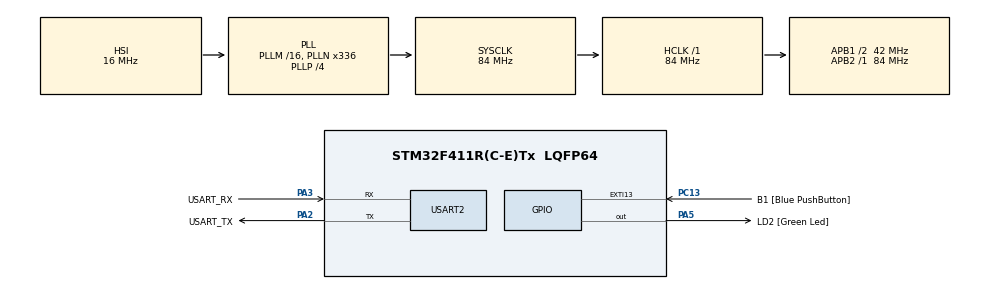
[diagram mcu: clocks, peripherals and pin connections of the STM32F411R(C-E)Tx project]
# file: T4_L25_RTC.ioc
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Mcu.Family=STM32F4
Mcu.Name=STM32F411R(C-E)Tx
Mcu.Package=LQFP64
NVIC.PriorityGroup=NVIC_PRIORITYGROUP_0
PA13.GPIO_Label=TMS
PA13.Mode=Serial_Wire
PA13.Signal=SYS_JTMS-SWDIO
PA14.GPIO_Label=TCK
PA14.Mode=Serial_Wire
PA14.Signal=SYS_JTCK-SWCLK
PA2.GPIO_Label=USART_TX
PA2.Mode=Asynchronous
PA2.Signal=USART2_TX
PA3.GPIO_Label=USART_RX
PA3.Mode=Asynchronous
PA3.Signal=USART2_RX
PA5.GPIO_Label=LD2 [Green Led]
PA5.Signal=GPIO_Output
PB3.GPIO_Label=SWO
PB3.Signal=SYS_JTDO-SWO
PC13-ANTI_TAMP.GPIO_Label=B1 [Blue PushButton]
PC13-ANTI_TAMP.GPIO_ModeDefaultEXTI=GPIO_MODE_IT_FALLING
PC13-ANTI_TAMP.Signal=GPXTI13
PC14-OSC32_IN.Mode=LSE-External-Oscillator
PC14-OSC32_IN.Signal=RCC_OSC32_IN
PC15-OSC32_OUT.Mode=LSE-External-Oscillator
PC15-OSC32_OUT.Signal=RCC_OSC32_OUT
PH0\ -\ OSC_IN.Mode=HSE-External-Clock-Source
PH0\ -\ OSC_IN.Signal=RCC_OSC_IN
PH1\ -\ OSC_OUT.Mode=HSE-External-Clock-Source
PH1\ -\ OSC_OUT.Signal=RCC_OSC_OUT
ProjectManager.HeapSize=0x200
ProjectManager.StackSize=0x400
ProjectManager.TargetToolchain=STM32CubeIDE
RCC.48MHZClocksFreq_Value=84000000
RCC.AHBFreq_Value=84000000
RCC.APB1CLKDivider=RCC_HCLK_DIV2
RCC.APB1Freq_Value=42000000
RCC.APB1TimFreq_Value=84000000
RCC.APB2Freq_Value=84000000
RCC.APB2TimFreq_Value=84000000
RCC.CortexFreq_Value=84000000
RCC.FLatency-AdvancedSettings=FLASH_LATENCY_2
RCC.HCLKFreq_Value=84000000
RCC.HSE_VALUE=8000000
RCC.HSI_VALUE=16000000
RCC.PLLN=336
RCC.PLLP=RCC_PLLP_DIV4
RCC.RCC_RTC_Clock_Source=RCC_RTCCLKSOURCE_LSE
RCC.RCC_RTC_Clock_SourceVirtual=RCC_RTCCLKSOURCE_LSE
RCC.SYSCLKFreq_VALUE=84000000
RCC.SYSCLKSource=RCC_SYSCLKSOURCE_PLLCLK
RCC.VCOOutputFreq_Value=336000000
RTC.Date=9
RTC.Hours=20
RTC.Minutes=30
RTC.Month=RTC_MONTH_APRIL
RTC.Seconds=15
RTC.Year=20
USART2.VirtualMode=VM_ASYNC
VP_RTC_VS_RTC_Activate.Mode=RTC_Enabled
VP_RTC_VS_RTC_Calendar.Mode=RTC_Calendar
board=NUCLEO-F411RE

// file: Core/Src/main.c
/* USER CODE BEGIN Header */
/**
  ******************************************************************************
  * @file           : main.c
  * @brief          : Main program body
  ******************************************************************************
  * @attention
  *
  * <h2><center>&copy; Copyright (c) 2020 STMicroelectronics.
  * All rights reserved.</center></h2>
  *
  * This software component is licensed by ST under BSD 3-Clause license,
  * the "License"; You may not use this file except in compliance with the
  * License. You may obtain a copy of the License at:
  *                        opensource.org/licenses/BSD-3-Clause
  *
  ******************************************************************************
  */
/* USER CODE END Header */
#include "main.h"
#include "rtc.h"
#include "usart.h"
#include "gpio.h"

/* USER CODE BEGIN Includes */
#include "stdio.h"
/* USER CODE END Includes */

/* USER CODE BEGIN PV */
RTC_TimeTypeDef RtcTime;
RTC_DateTypeDef RtcDate;

uint8_t CompareSeconds;
float Milliseconds;

uint8_t Message[64];
uint8_t MessageLen;
/* USER CODE END PV */

void SystemClock_Config(void);

int main(void)
{

  /* MCU Configuration--------------------------------------------------------*/

  /* Reset of all peripherals, Initializes the Flash interface and the Systick. */
  HAL_Init();

  /* Configure the system clock */
  SystemClock_Config();

  /* Initialize all configured peripherals */
  MX_GPIO_Init();
  MX_USART2_UART_Init();
  MX_RTC_Init();

  /* Infinite loop */
  /* USER CODE BEGIN WHILE */
  while (1)
  {
	  HAL_RTC_GetTime(&hrtc, &RtcTime, RTC_FORMAT_BIN);
	  HAL_RTC_GetDate(&hrtc, &RtcDate, RTC_FORMAT_BIN);

	  //
	  // Milliseconds formula is taken from Reference Manual
	  //
	  Milliseconds = ((RtcTime.SecondFraction-RtcTime.SubSeconds) /((float)RtcTime.SecondFraction+1) * 100);

	  if(Milliseconds != CompareSeconds)
	  {
		  MessageLen = sprintf((char*)Message, "Date: %02d.%02d.20%02d Time: %02d:%02d:%02d:%02d\n\r",
				  	  	  	  	  RtcDate.Date, RtcDate.Month, RtcDate.Year, RtcTime.Hours, RtcTime.Minutes, RtcTime.Seconds, (uint8_t)Milliseconds);
		  HAL_UART_Transmit(&huart2, Message, MessageLen, 100);
		  CompareSeconds = Milliseconds;
	  }
    /* USER CODE END WHILE */

  }
}

void SystemClock_Config(void)
{
  RCC_OscInitTypeDef RCC_OscInitStruct = {0};
  RCC_ClkInitTypeDef RCC_ClkInitStruct = {0};
  RCC_PeriphCLKInitTypeDef PeriphClkInitStruct = {0};

  /** Configure the main internal regulator output voltage
  */
  __HAL_RCC_PWR_CLK_ENABLE();
  __HAL_PWR_VOLTAGESCALING_CONFIG(PWR_REGULATOR_VOLTAGE_SCALE1);
  /** Initializes the RCC Oscillators according to the specified parameters
  * in the RCC_OscInitTypeDef structure.
  */
  RCC_OscInitStruct.OscillatorType = RCC_OSCILLATORTYPE_HSI|RCC_OSCILLATORTYPE_LSE;
  RCC_OscInitStruct.LSEState = RCC_LSE_ON;
  RCC_OscInitStruct.HSIState = RCC_HSI_ON;
  RCC_OscInitStruct.HSICalibrationValue = RCC_HSICALIBRATION_DEFAULT;
  RCC_OscInitStruct.PLL.PLLState = RCC_PLL_ON;
  RCC_OscInitStruct.PLL.PLLSource = RCC_PLLSOURCE_HSI;
  RCC_OscInitStruct.PLL.PLLM = 16;
  RCC_OscInitStruct.PLL.PLLN = 336;
  RCC_OscInitStruct.PLL.PLLP = RCC_PLLP_DIV4;
  RCC_OscInitStruct.PLL.PLLQ = 4;
  if (HAL_RCC_OscConfig(&RCC_OscInitStruct) != HAL_OK)
  {
    Error_Handler();
  }
  /** Initializes the CPU, AHB and APB buses clocks
  */
  RCC_ClkInitStruct.ClockType = RCC_CLOCKTYPE_HCLK|RCC_CLOCKTYPE_SYSCLK
                              |RCC_CLOCKTYPE_PCLK1|RCC_CLOCKTYPE_PCLK2;
  RCC_ClkInitStruct.SYSCLKSource = RCC_SYSCLKSOURCE_PLLCLK;
  RCC_ClkInitStruct.AHBCLKDivider = RCC_SYSCLK_DIV1;
  RCC_ClkInitStruct.APB1CLKDivider = RCC_HCLK_DIV2;
  RCC_ClkInitStruct.APB2CLKDivider = RCC_HCLK_DIV1;

  if (HAL_RCC_ClockConfig(&RCC_ClkInitStruct, FLASH_LATENCY_2) != HAL_OK)
  {
    Error_Handler();
  }
  PeriphClkInitStruct.PeriphClockSelection = RCC_PERIPHCLK_RTC;
  PeriphClkInitStruct.RTCClockSelection = RCC_RTCCLKSOURCE_LSE;
  if (HAL_RCCEx_PeriphCLKConfig(&PeriphClkInitStruct) != HAL_OK)
  {
    Error_Handler();
  }
}

void Error_Handler(void)
{
}

/************************ (C) COPYRIGHT STMicroelectronics *****END OF FILE****/
